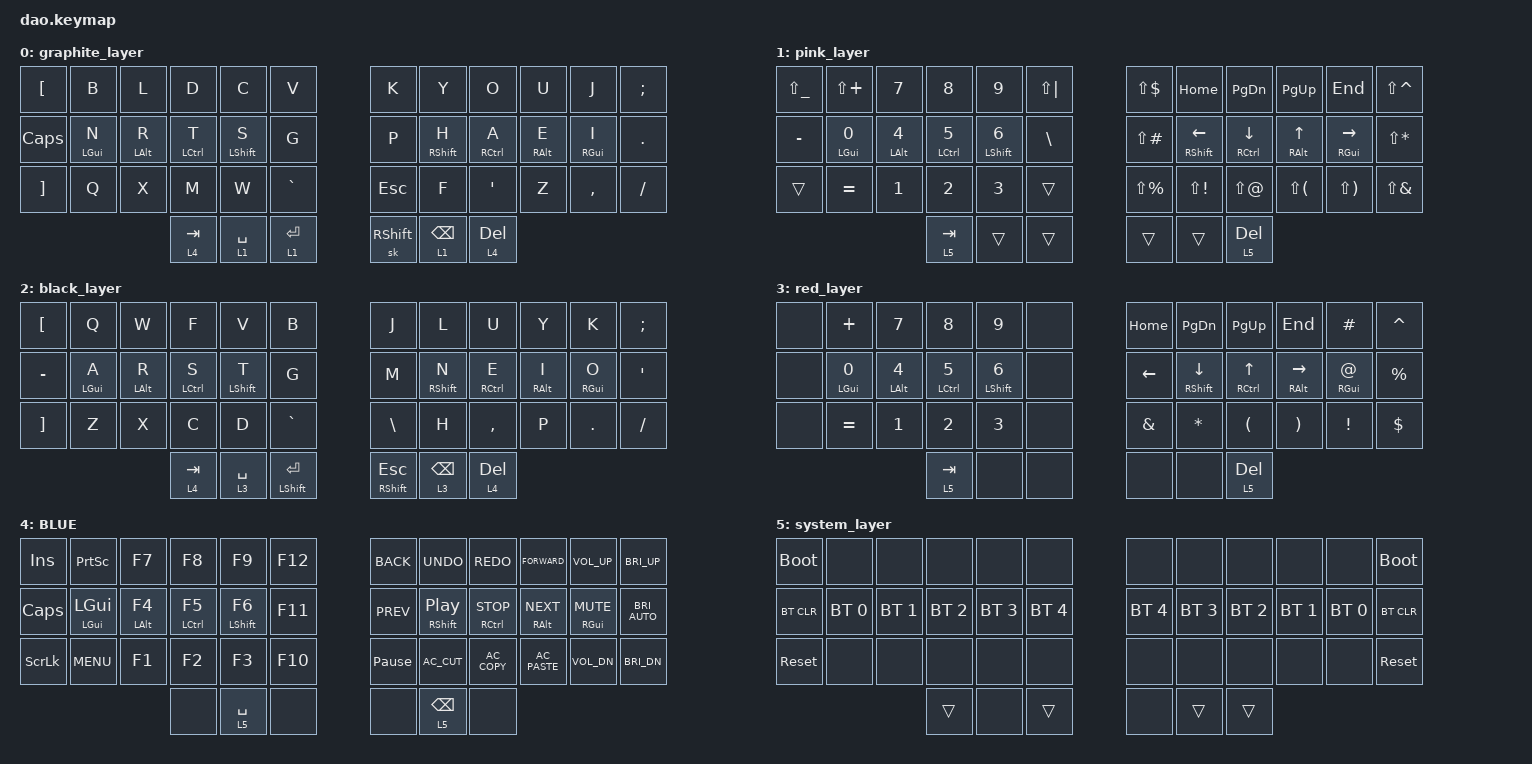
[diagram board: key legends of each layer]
/*
 * Copyright (c) 2021 Rafael Yumagulov
 *
 * SPDX-License-Identifier: MIT
 */

#include <behaviors.dtsi>
#include <dt-bindings/zmk/bt.h>
#include <dt-bindings/zmk/keys.h>

#define DEF 0
#define LWR 1
#define RSE 2
#define ADJ 3

/* Homerow mods configuration */

#define QUICK_TAP_MS 175

// Key position groups for Zireael (36-key layout)
// Left side: rows 0-2, positions 0-5 (top), 12-17 (home), 24-29 (bottom)
// Right side: rows 0-2, positions 6-11 (top), 18-23 (home), 30-35 (bottom)
// Thumbs: 36-38 (left), 39-41 (right)

#define KEYS_L 0 1 2 3 4 5 12 13 14 15 16 17 24 25 26 27 28 29  // Left hand keys
#define KEYS_R 6 7 8 9 10 11 18 19 20 21 22 23 30 31 32 33 34 35  // Right hand keys
#define THUMBS 36 37 38 39 40 41  // All thumb keys

&lt {
    quick_tap_ms = <200>;
    flavor = "balanced";
};

&mt { quick_tap_ms = <200>; };

/ {
    chosen {
        zmk,matrix_transform = &default_transform;

        // zmk,matrix_transform = &extra_keys_transform;
    };
};

/ {
    combos { compatible = "zmk,combos"; };

    behaviors {
        // Left-hand homerow mods

        hml: homerow_mods_left {
            compatible = "zmk,behavior-hold-tap";
            #binding-cells = <2>;
            bindings = <&kp>, <&kp>;

            flavor = "balanced";
            tapping-term-ms = <280>;
            quick-tap-ms = <QUICK_TAP_MS>;
            require-prior-idle-ms = <150>;
            hold-trigger-on-release;
            hold-trigger-key-positions = <KEYS_R THUMBS>;
        };

        // Right-hand homerow mods

        hmr: homerow_mods_right {
            compatible = "zmk,behavior-hold-tap";
            #binding-cells = <2>;
            bindings = <&kp>, <&kp>;

            flavor = "balanced";
            tapping-term-ms = <280>;
            quick-tap-ms = <QUICK_TAP_MS>;
            require-prior-idle-ms = <150>;
            hold-trigger-on-release;
            hold-trigger-key-positions = <KEYS_L THUMBS>;
        };
    };

    macros {
        TMUX0: TMUX0 {
            compatible = "zmk,behavior-macro";
            #binding-cells = <0>;
            bindings = <&kp LC(B) &kp N0>;
            label = "TMUX0";
        };

        TMUX1: TMUX1 {
            compatible = "zmk,behavior-macro";
            #binding-cells = <0>;
            bindings = <&kp LC(B) &kp N0>;
            label = "TMUX1";
        };
    };

    keymap {
        compatible = "zmk,keymap";

        graphite_layer {
            bindings = <
&kp LBKT  &kp B        &kp L        &kp D         &kp C          &kp V      &kp K      &kp Y         &kp O         &kp U        &kp J        &kp SEMI
&kp CAPS  &hml LGUI N  &hml LALT R  &hml LCTRL T  &hml LSHIFT S  &kp G      &kp P      &hmr RSHFT H  &hmr RCTRL A  &hmr RALT E  &hmr RGUI I  &kp DOT
&kp RBKT  &kp Q        &kp X        &kp M         &kp W          &kp GRAVE  &kp ESC    &kp F         &kp SQT       &kp Z        &kp COMMA    &kp FSLH
                                    &lt 4 TAB     &lt 1 SPACE    &lt 1 RET  &sk RSHFT  &lt 1 BSPC    &lt 4 DEL
            >;
        };

        pink_layer {
            bindings = <
&kp LS(UNDER)  &kp LS(PLUS)      &kp N7        &kp N8         &kp N9         &kp LS(PIPE)  &kp LS(DLLR)   &kp HOME         &kp PG_DN        &kp PG_UP     &kp END          &kp LS(CARET)
&kp MINUS      &hmr LEFT_GUI N0  &hml LALT N4  &hml LCTRL N5  &hml LSHFT N6  &kp BSLH      &kp LS(POUND)  &hmr RSHFT LEFT  &hmr RCTRL DOWN  &hmr RALT UP  &hmr RGUI RIGHT  &kp LS(STAR)
&trans         &kp EQUAL         &kp N1        &kp N2         &kp N3         &trans        &kp LS(PRCNT)  &kp LS(EXCL)     &kp LS(AT)       &kp LS(LPAR)  &kp LS(RPAR)     &kp LS(AMPS)
                                               &lt 5 TAB      &trans         &trans        &trans         &trans           &lt 5 DEL
            >;
        };

        black_layer {
            bindings = <
&kp LBKT   &kp Q        &kp W        &kp F         &kp V         &kp B            &kp J          &kp L         &kp U         &kp Y        &kp K        &kp SEMI
&kp MINUS  &hml LGUI A  &hml LALT R  &hml LCTRL S  &hml LSHFT T  &kp G            &kp M          &hmr RSHFT N  &hmr RCTRL E  &hmr RALT I  &hmr RGUI O  &kp SQT
&kp RBKT   &kp Z        &kp X        &kp C         &kp D         &kp GRAVE        &kp BSLH       &kp H         &kp COMMA     &kp P        &kp DOT      &kp FSLH
                                     &lt 4 TAB     &lt 3 SPACE   &mt LSHFT ENTER  &mt RSHFT ESC  &lt 3 BSPC    &lt 4 DEL
            >;
        };

        red_layer {
            bindings = <
&none  &kp PLUS      &kp N7        &kp N8         &kp N9         &none  &kp HOME        &kp PG_DN        &kp PG_UP      &kp END                &kp HASH      &kp CARET
&none  &hml LGUI N0  &hml LALT N4  &hml LCTRL N5  &hml LSHFT N6  &none  &kp LEFT_ARROW  &hmr RSHFT DOWN  &hmr RCTRL UP  &hmr RALT RIGHT_ARROW  &hmr RGUI AT  &kp PRCNT
&none  &kp EQUAL     &kp N1        &kp N2         &kp N3         &none  &kp AMPS        &kp STAR         &kp LPAR       &kp RPAR               &kp EXCL      &kp DLLR
                                   &lt 5 TAB      &none          &none  &none           &none            &lt 5 DEL
            >;
        };

        blue_layer {
            bindings = <
&kp INS   &kp PSCRN       &kp F7        &kp F8         &kp F9         &kp F12  &kp K_BACK       &kp K_UNDO               &kp K_REDO         &kp K_FORWARD     &kp C_VOL_UP      &kp C_BRI_UP
&kp CLCK  &hml LGUI LGUI  &hml LALT F4  &hml LCTRL F5  &hml LSHFT F6  &kp F11  &kp C_PREV       &hmr RSHFT C_PLAY_PAUSE  &hmr RCTRL C_STOP  &hmr RALT C_NEXT  &hmr RGUI C_MUTE  &kp C_BRI_AUTO
&kp SLCK  &kp C_MENU      &kp F1        &kp F2         &kp F3         &kp F10  &kp PAUSE_BREAK  &kp C_AC_CUT             &kp C_AC_COPY      &kp C_AC_PASTE    &kp C_VOL_DN      &kp C_BRI_DN
                                        &none          &lt 5 SPACE    &none    &none            &lt 5 BSPC               &none
            >;

            label = "BLUE";
        };

        system_layer {
            bindings = <
&bootloader  &none         &none         &none         &none         &none         &none         &none         &none         &none         &none         &bootloader
&bt BT_CLR   &bt BT_SEL 0  &bt BT_SEL 1  &bt BT_SEL 2  &bt BT_SEL 3  &bt BT_SEL 4  &bt BT_SEL 4  &bt BT_SEL 3  &bt BT_SEL 2  &bt BT_SEL 1  &bt BT_SEL 0  &bt BT_CLR
&sys_reset   &none         &none         &none         &none         &none         &none         &none         &none         &none         &none         &sys_reset
                                         &trans        &none         &trans        &none         &trans        &trans
            >;
        };
    };
};
